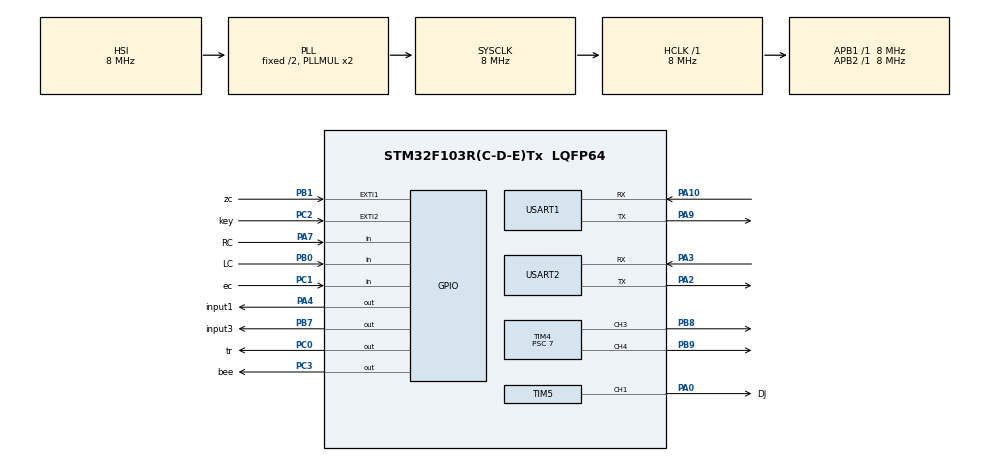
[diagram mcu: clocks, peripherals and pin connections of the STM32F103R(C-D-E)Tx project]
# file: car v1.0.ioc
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Mcu.Family=STM32F1
Mcu.Name=STM32F103R(C-D-E)Tx
Mcu.Package=LQFP64
NVIC.EXTI1_IRQn=true\:1\:0\:true\:false\:true\:true\:true
NVIC.EXTI2_IRQn=true\:2\:0\:true\:false\:true\:true\:true
NVIC.PriorityGroup=NVIC_PRIORITYGROUP_4
NVIC.TIM2_IRQn=true\:2\:0\:true\:false\:true\:true\:true
NVIC.TIM5_IRQn=true\:0\:0\:false\:false\:true\:true\:true
NVIC.TIM6_IRQn=true\:0\:0\:false\:false\:true\:true\:true
NVIC.USART1_IRQn=true\:3\:0\:true\:false\:true\:true\:true
NVIC.USART2_IRQn=true\:3\:0\:true\:false\:true\:true\:true
PA0-WKUP.GPIO_Label=DJ
PA0-WKUP.Signal=S_TIM5_CH1
PA10.Mode=Asynchronous
PA10.Signal=USART1_RX
PA2.Mode=Asynchronous
PA2.Signal=USART2_TX
PA3.Mode=Asynchronous
PA3.Signal=USART2_RX
PA4.GPIO_Label=input1
PA4.Signal=GPIO_Output
PA7.GPIO_Label=RC
PA7.Signal=GPIO_Input
PA9.Mode=Asynchronous
PA9.Signal=USART1_TX
PB0.GPIO_Label=LC
PB0.Signal=GPIO_Input
PB1.GPIO_Label=zc
PB1.GPIO_ModeDefaultEXTI=GPIO_MODE_IT_FALLING
PB1.GPIO_PuPd=GPIO_NOPULL
PB1.Signal=GPXTI1
PB7.GPIO_Label=input3
PB7.Signal=GPIO_Output
PB8.Signal=S_TIM4_CH3
PB9.Signal=S_TIM4_CH4
PC0.GPIO_Label=tr
PC0.Signal=GPIO_Output
PC1.GPIO_Label=ec
PC1.Signal=GPIO_Input
PC2.GPIO_Label=key
PC2.GPIO_ModeDefaultEXTI=GPIO_MODE_IT_RISING
PC2.Signal=GPXTI2
PC3.GPIO_Label=bee
PC3.Signal=GPIO_Output
PD0-OSC_IN.Mode=HSE-External-Oscillator
PD0-OSC_IN.Signal=RCC_OSC_IN
PD1-OSC_OUT.Mode=HSE-External-Oscillator
PD1-OSC_OUT.Signal=RCC_OSC_OUT
ProjectManager.HeapSize=0x200
ProjectManager.StackSize=0x400
ProjectManager.TargetToolchain=MDK-ARM V5
RCC.AHBFreq_Value=8000000
RCC.APB1Freq_Value=8000000
RCC.APB1TimFreq_Value=8000000
RCC.APB2Freq_Value=8000000
RCC.APB2TimFreq_Value=8000000
RCC.HCLKFreq_Value=8000000
RCC.SYSCLKFreq_VALUE=8000000
RCC.SYSCLKSource=RCC_SYSCLKSOURCE_PLLCLK
RCC.USBFreq_Value=8000000
SH.S_TIM4_CH3.0=TIM4_CH3,PWM Generation3 CH3
SH.S_TIM4_CH4.0=TIM4_CH4,PWM Generation4 CH4
SH.S_TIM5_CH1.0=TIM5_CH1,PWM Generation1 CH1
TIM2.AutoReloadPreload=TIM_AUTORELOAD_PRELOAD_DISABLE
TIM2.CounterMode=TIM_COUNTERMODE_DOWN
TIM2.Period=999
TIM2.Prescaler=7999
TIM4.AutoReloadPreload=TIM_AUTORELOAD_PRELOAD_ENABLE
TIM4.Channel-PWM\ Generation3\ CH3=TIM_CHANNEL_3
TIM4.Channel-PWM\ Generation4\ CH4=TIM_CHANNEL_4
TIM4.Period=499
TIM4.Prescaler=7
TIM5.AutoReloadPreload=TIM_AUTORELOAD_PRELOAD_ENABLE
TIM5.Channel-PWM\ Generation1\ CH1=TIM_CHANNEL_1
TIM5.Period=9999
TIM5.Prescaler=15
TIM6.AutoReloadPreload=TIM_AUTORELOAD_PRELOAD_ENABLE
TIM6.Period=65534
TIM6.Prescaler=7
TIM6.TIM_MasterOutputTrigger=TIM_TRGO_RESET
USART1.VirtualMode=VM_ASYNC
USART2.VirtualMode=VM_ASYNC
VP_SYS_VS_ND.Mode=No_Debug
VP_TIM2_VS_ClockSourceINT.Mode=Internal
VP_TIM5_VS_ClockSourceINT.Mode=Internal
VP_TIM6_VS_ClockSourceINT.Mode=Enable_Timer
board=custom

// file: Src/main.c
/* USER CODE BEGIN Header */
/**
  ******************************************************************************
  * @file           : main.c
  * @brief          : Main program body
  ******************************************************************************
  * @attention
  *
  * <h2><center>&copy; Copyright (c) 2020 STMicroelectronics.
  * All rights reserved.</center></h2>
  *
  * This software component is licensed by ST under BSD 3-Clause license,
  * the "License"; You may not use this file except in compliance with the
  * License. You may obtain a copy of the License at:
  *                        opensource.org/licenses/BSD-3-Clause
  *
  ******************************************************************************
  */
/* USER CODE END Header */

#include "main.h"
#include "tim.h"
#include "usart.h"
#include "gpio.h"

/* USER CODE BEGIN PD */
#define DJCOM 4   //舵机补偿
/* USER CODE END PD */

void SystemClock_Config(void);
/* USER CODE BEGIN PFP */
void MaxSpeedForward();
void setleftpwm(int pwmval);
void setrightpwm(int pwmval);
void pwmenable();
void setbothpwm(int pwmval);
void beein(int time);
void tim2enable();
void stop();
void addleftpwm(int pwmval);
void addrightpwm(int pwmval);
void addbothpwm(int);
void moveforward(int);
void turnleft(int);
void turnright(int);
void singlelinemode1();
void singlelinemode2();
void setdjpwm(int pwmval);
void setdjw(int w);
void delay_us(uint32_t us);
void starttiming();
int gettiming();

/* USER CODE END PFP */

/* USER CODE BEGIN 0 */
_Bool enablehwcjit=1;  //响应红外测距中断
int tim6reloadcnt=0;
/* USER CODE END 0 */

int main(void)
{

  /* MCU Configuration--------------------------------------------------------*/

  /* Reset of all peripherals, Initializes the Flash interface and the Systick. */
  HAL_Init();

  /* Configure the system clock */
  SystemClock_Config();

  /* Initialize all configured peripherals */
  MX_GPIO_Init();
  MX_TIM4_Init();
  MX_USART1_UART_Init();
  MX_USART2_UART_Init();
  MX_TIM2_Init();
  MX_TIM5_Init();
  MX_TIM6_Init();
  /* USER CODE BEGIN 2 */
	pwmenable();
	tim2enable();

	uint8_t t;
  /* USER CODE END 2 */

  /* Infinite loop */
  while (1)
  {

    /* USER CODE BEGIN 3 */
	  starttiming();
	  HAL_Delay(0);
	  t=gettiming()/1000;
	  HAL_UART_Transmit(&huart1,&t,1,10);

	   starttiming();
	  HAL_Delay(10);
	  t=gettiming()/1000;
	  HAL_UART_Transmit(&huart1,&t,1,10);

	   starttiming();
	  HAL_Delay(20);
	  t=gettiming()/1000;
	  HAL_UART_Transmit(&huart1,&t,1,10);
	  HAL_Delay(1000);

  }
  /* USER CODE END 3 */
}

void SystemClock_Config(void)
{
  RCC_OscInitTypeDef RCC_OscInitStruct = {0};
  RCC_ClkInitTypeDef RCC_ClkInitStruct = {0};

  /** Initializes the CPU, AHB and APB busses clocks
  */
  RCC_OscInitStruct.OscillatorType = RCC_OSCILLATORTYPE_HSI;
  RCC_OscInitStruct.HSIState = RCC_HSI_ON;
  RCC_OscInitStruct.HSICalibrationValue = RCC_HSICALIBRATION_DEFAULT;
  RCC_OscInitStruct.PLL.PLLState = RCC_PLL_ON;
  RCC_OscInitStruct.PLL.PLLSource = RCC_PLLSOURCE_HSI_DIV2;
  RCC_OscInitStruct.PLL.PLLMUL = RCC_PLL_MUL2;
  if (HAL_RCC_OscConfig(&RCC_OscInitStruct) != HAL_OK)
  {
    Error_Handler();
  }
  /** Initializes the CPU, AHB and APB busses clocks
  */
  RCC_ClkInitStruct.ClockType = RCC_CLOCKTYPE_HCLK|RCC_CLOCKTYPE_SYSCLK
                              |RCC_CLOCKTYPE_PCLK1|RCC_CLOCKTYPE_PCLK2;
  RCC_ClkInitStruct.SYSCLKSource = RCC_SYSCLKSOURCE_PLLCLK;
  RCC_ClkInitStruct.AHBCLKDivider = RCC_SYSCLK_DIV1;
  RCC_ClkInitStruct.APB1CLKDivider = RCC_HCLK_DIV1;
  RCC_ClkInitStruct.APB2CLKDivider = RCC_HCLK_DIV1;

  if (HAL_RCC_ClockConfig(&RCC_ClkInitStruct, FLASH_LATENCY_0) != HAL_OK)
  {
    Error_Handler();
  }
}

/* USER CODE BEGIN 4 */

void delay_us(uint32_t us)
{
    uint32_t delay = (HAL_RCC_GetHCLKFreq() / 4000000 * us);
    while (delay--)
	{
		;
	}
}
void pwmenable()
{
	HAL_TIM_PWM_Start(&htim4,TIM_CHANNEL_3);
	HAL_TIM_PWM_Start(&htim4,TIM_CHANNEL_4);
	HAL_TIM_PWM_Start(&htim5,TIM_CHANNEL_1);
}
void setleftpwm(int pwmval)//-500<val<500 绝对值越大越快
{
	if(pwmval>=0)
	{
		HAL_GPIO_WritePin(GPIOB,GPIO_PIN_7,0);
		__HAL_TIM_SET_COMPARE(&htim4,TIM_CHANNEL_3,pwmval);
	}
	else
	{
		HAL_GPIO_WritePin(GPIOB,GPIO_PIN_7,1);
		__HAL_TIM_SET_COMPARE(&htim4,TIM_CHANNEL_3,500+pwmval);
	}
}
void setrightpwm(int pwmval)//-500<val<500 绝对值越大越快
{
	if(pwmval>=0)
	{
		HAL_GPIO_WritePin(GPIOA,GPIO_PIN_4,0);
		__HAL_TIM_SET_COMPARE(&htim4,TIM_CHANNEL_4,pwmval);
	}
	else
	{
		HAL_GPIO_WritePin(GPIOA,GPIO_PIN_4,1);
		__HAL_TIM_SET_COMPARE(&htim4,TIM_CHANNEL_4,500+pwmval);
	}
}
void stop()
{
	setbothpwm(0);
}
void setbothpwm(int pwmval)
{
	setleftpwm(pwmval);
	setrightpwm(pwmval);
}
void addleftpwm(int pwmval)
{
	int t=__HAL_TIM_GET_COMPARE(&htim4,TIM_CHANNEL_3)+pwmval;
	if(t>500)t=500;
	else if(t<-500)t=-500;
	__HAL_TIM_SET_COMPARE(&htim4,TIM_CHANNEL_3,t);
}
void addrightpwm(int pwmval)
{
	int t=__HAL_TIM_GET_COMPARE(&htim4,TIM_CHANNEL_4)+pwmval;
	if(t>500)t=500;
	else if(t<-500)t=-500;
	__HAL_TIM_SET_COMPARE(&htim4,TIM_CHANNEL_4,t);
}
void addbothpwm(int pwmval)
{
	addleftpwm(pwmval);
	addrightpwm(pwmval);
}
void setdjpwm(int pwmval)
{
	__HAL_TIM_SET_COMPARE(&htim5,TIM_CHANNEL_1,pwmval);
}
void setdjw(int w)//-90<=w<=90 负右 正左
{
	w+=90+(DJCOM);
	//setdjpwm(249.975+w*5.555);
	setdjpwm(227.755+w*5.6785);
}

void beenoin(int time)
{
	HAL_GPIO_WritePin(GPIOC,GPIO_PIN_3,1);
	HAL_Delay(time);
	HAL_GPIO_WritePin(GPIOC,GPIO_PIN_3,0);
}
void beein(int time)
{
	HAL_GPIO_WritePin(GPIOC,GPIO_PIN_3,1);
	__HAL_TIM_SET_COUNTER(&htim2,time-1);
}
void moveforward(int val)
{
	setbothpwm(val);
}
void turnleft(int val)
{
	setleftpwm(-135);
	setrightpwm(val);
}
void turnright(int val)
{
	setleftpwm(val);
	setrightpwm(-135);
}
void tr()
{
	HAL_GPIO_WritePin(GPIOC,GPIO_PIN_0,1);
	delay_us(15);
	HAL_GPIO_WritePin(GPIOC,GPIO_PIN_0,0);
}
void starttiming()
{
	tim6reloadcnt=0;
	__HAL_TIM_SET_COUNTER(&htim6,0);
	HAL_TIM_Base_Start(&htim6);
}
int gettiming()
{
	HAL_TIM_Base_Stop(&htim6);
	return __HAL_TIM_GET_COUNTER(&htim6)+tim6reloadcnt*65535;
}

void singlelinemode1()
{
	 //1有黑线 0无黑线 pb0左 pa7右
	while(1)
	{
		if(HAL_GPIO_ReadPin(GPIOB,GPIO_PIN_0))
		{
			if(HAL_GPIO_ReadPin(GPIOA,GPIO_PIN_7))
			{
				stop();
			}
			else
			{
				turnleft(250);
			}
		}
		else
		{
			if(HAL_GPIO_ReadPin(GPIOA,GPIO_PIN_7))
			{
				turnright(250);
			}
			else
			{
				moveforward(150);
			}
		}
	}
}
void singlelinemode2()
{
	int state=0;
	while(1)
	{
		switch(state)
	  {
		  case 0:
			  if(HAL_GPIO_ReadPin(GPIOB,GPIO_PIN_0))
			  {
				  if(HAL_GPIO_ReadPin(GPIOA,GPIO_PIN_7))
				  {
					  state=5;
				  }
				  else
				  {
					state=1;
					moveforward(200);
					break;
				  }
			  }
			  else if(HAL_GPIO_ReadPin(GPIOA,GPIO_PIN_7))
			  {
				  state=2;
				  moveforward(200);
				  break;
			  }
			  break;
		  case 1:
			  if(!HAL_GPIO_ReadPin(GPIOB,GPIO_PIN_0))
			  {
				  if(HAL_GPIO_ReadPin(GPIOA,GPIO_PIN_7))
				  {
					 state=2;
					 break;
				  }
				  else
				  {
					  state=3;
					  turnleft(200);
					  break;
				  }
			  }
			  else if(HAL_GPIO_ReadPin(GPIOA,GPIO_PIN_7))
			  {
				  /*
				  state=5;
				  stop();
				  break;
				  */

			  }
			  break;
		  case 2:
			  if(!HAL_GPIO_ReadPin(GPIOA,GPIO_PIN_7))
			  {
				  if(HAL_GPIO_ReadPin(GPIOB,GPIO_PIN_0))
				  {
					  state=1;
					  break;
				  }
				  else
				  {
					  state=4;
					  turnright(200);
					  break;
				  }
			  }
			  else if(HAL_GPIO_ReadPin(GPIOB,GPIO_PIN_0))
			  {
				  /*
				  state=5;
				  stop();
				  break;
				  */
				  state=1;
			  }
			  break;
		  case 3:
		  case 4:
			  if(HAL_GPIO_ReadPin(GPIOB,GPIO_PIN_0))
			  {
				  if(HAL_GPIO_ReadPin(GPIOA,GPIO_PIN_7))
				  {
					  state=5;
					  stop();
					  break;
				  }
				  else
				  {
					  state=1;
					  moveforward(200);
					  break;
				  }
			  }
			  else
			  {
				  if(HAL_GPIO_ReadPin(GPIOA,GPIO_PIN_7))
				  {
					  state=2;
					  moveforward(200);
					  break;
				  }
				  break;
			  }
			  break;
		  case 5:
			  if(!HAL_GPIO_ReadPin(GPIOB,GPIO_PIN_0))
			  {
				  if(!HAL_GPIO_ReadPin(GPIOA,GPIO_PIN_7))
				  {
					  state=0;
					  break;
				  }
				  else
				  {
					  state=2;
					  moveforward(200);
					  break;
				  }
			  }
			  else
			  {
				  if(!HAL_GPIO_ReadPin(GPIOA,GPIO_PIN_7))
				  {
					  state=1;
					  moveforward(200);
					  break;
				  }
			  }
			  break;
		  default:
				  break;

	  }
	}
}

void HAL_TIM_PeriodElapsedCallback(TIM_HandleTypeDef *htim)
{
	if(htim==&htim2)//stop bee
	{
		HAL_GPIO_WritePin(GPIOC,GPIO_PIN_3,0);
	}
	else if(htim==&htim6)//计时器溢出
	{
		tim6reloadcnt+=1;
	}
}
void HAL_GPIO_EXTI_Callback(uint16_t GPIO_Pin)
{
	if(GPIO_Pin==GPIO_PIN_1&&enablehwcjit)//红外测距
	{
		 HAL_Delay(20); // 延时一小段时间，消除抖动
		if(HAL_GPIO_ReadPin(GPIOB,GPIO_PIN_1)==0)
		{

        }
		__HAL_GPIO_EXTI_CLEAR_IT(GPIO_PIN_1);
	}
	if(GPIO_Pin==GPIO_PIN_2)//按键
	{
		HAL_Delay(20);
		if(HAL_GPIO_ReadPin(GPIOC,GPIO_PIN_2)==1)
		{

		}
		__HAL_GPIO_EXTI_CLEAR_IT(GPIO_PIN_2);
	}

}

void tim2enable()
{
	HAL_TIM_Base_Start_IT(&htim2);
}

/* USER CODE END 4 */

void Error_Handler(void)
{
}

/************************ (C) COPYRIGHT STMicroelectronics *****END OF FILE****/
